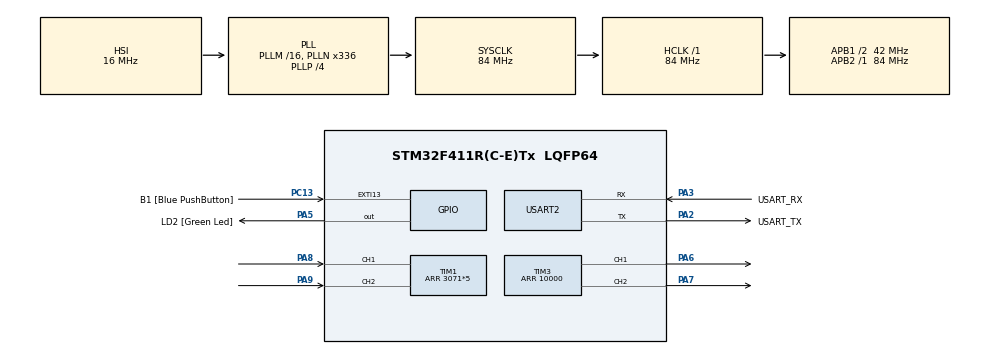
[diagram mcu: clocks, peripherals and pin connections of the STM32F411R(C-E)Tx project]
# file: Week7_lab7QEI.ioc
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Mcu.Family=STM32F4
PC15-OSC32_OUT.Mode=LSE-External-Oscillator
RCC.CortexFreq_Value=84000000
PC13-ANTI_TAMP.GPIO_Label=B1 [Blue PushButton]
PA14.GPIO_Label=TCK
PH1\ -\ OSC_OUT.Mode=HSE-External-Clock-Source
TIM1.EncoderMode=TIM_ENCODERMODE_TI12
RCC.APB1CLKDivider=RCC_HCLK_DIV2
PC14-OSC32_IN.Signal=RCC_OSC32_IN
RCC.SYSCLKSource=RCC_SYSCLKSOURCE_PLLCLK
ProjectManager.StackSize=0x400
PA13.Signal=SYS_JTMS-SWDIO
PA3.Mode=Asynchronous
PH0\ -\ OSC_IN.Mode=HSE-External-Clock-Source
SH.S_TIM1_CH1.0=TIM1_CH1,Encoder_Interface
PH0\ -\ OSC_IN.Signal=RCC_OSC_IN
ProjectManager.TargetToolchain=STM32CubeIDE
RCC.HCLKFreq_Value=84000000
RCC.APB2TimFreq_Value=84000000
TIM3.Period=10000
PA9.Signal=S_TIM1_CH2
PC15-OSC32_OUT.Signal=RCC_OSC32_OUT
RCC.AHBFreq_Value=84000000
TIM3.Channel-PWM\ Generation1\ CH1=TIM_CHANNEL_1
PA5.Signal=GPIO_Output
SH.S_TIM3_CH2.0=TIM3_CH2,PWM Generation2 CH2
RCC.HSE_VALUE=8000000
PH1\ -\ OSC_OUT.Signal=RCC_OSC_OUT
board=NUCLEO-F411RE
PC13-ANTI_TAMP.Signal=GPXTI13
RCC.VCOOutputFreq_Value=336000000
RCC.APB2Freq_Value=84000000
PC14-OSC32_IN.Mode=LSE-External-Oscillator
SH.S_TIM1_CH2.0=TIM1_CH2,Encoder_Interface
VP_TIM2_VS_ClockSourceINT.Mode=Internal
PA14.Mode=Serial_Wire
NVIC.TIM2_IRQn=true\:0\:0\:false\:false\:true\:true\:true
PA8.Signal=S_TIM1_CH1
SH.S_TIM3_CH1.0=TIM3_CH1,PWM Generation1 CH1
PA13.Mode=Serial_Wire
Mcu.Name=STM32F411R(C-E)Tx
PA2.Signal=USART2_TX
PA13.GPIO_Label=TMS
RCC.FLatency-AdvancedSettings=FLASH_LATENCY_2
RCC.48MHZClocksFreq_Value=84000000
PB3.Signal=SYS_JTDO-SWO
RCC.SYSCLKFreq_VALUE=84000000
Mcu.Package=LQFP64
TIM2.Prescaler=99
PA6.Signal=S_TIM3_CH1
PA5.GPIO_Label=LD2 [Green Led]
USART2.VirtualMode=VM_ASYNC
PC13-ANTI_TAMP.GPIO_ModeDefaultEXTI=GPIO_MODE_IT_FALLING
PA2.GPIO_Label=USART_TX
PA14.Signal=SYS_JTCK-SWCLK
ProjectManager.HeapSize=0x200
RCC.HSI_VALUE=16000000
RCC.PLLP=RCC_PLLP_DIV4
NVIC.PriorityGroup=NVIC_PRIORITYGROUP_0
TIM3.Channel-PWM\ Generation2\ CH2=TIM_CHANNEL_2
RCC.PLLN=336
RCC.APB1TimFreq_Value=84000000
PA2.Mode=Asynchronous
TIM1.Period=3071*5
RCC.APB1Freq_Value=42000000
PA3.GPIO_Label=USART_RX
PA3.Signal=USART2_RX
PA7.Signal=S_TIM3_CH2
PB3.GPIO_Label=SWO

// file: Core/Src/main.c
/* USER CODE BEGIN Header */
/**
 ******************************************************************************
 * @file           : main.c
 * @brief          : Main program body
 ******************************************************************************
 * @attention
 *
 * <h2><center>&copy; Copyright (c) 2021 STMicroelectronics.
 * All rights reserved.</center></h2>
 *
 * This software component is licensed by ST under BSD 3-Clause license,
 * the "License"; You may not use this file except in compliance with the
 * License. You may obtain a copy of the License at:
 *                        opensource.org/licenses/BSD-3-Clause
 *
 ******************************************************************************
 */
/* USER CODE END Header */
#include "main.h"

TIM_HandleTypeDef htim1;
TIM_HandleTypeDef htim2;
TIM_HandleTypeDef htim3;

UART_HandleTypeDef huart2;

/* USER CODE BEGIN PV */
uint64_t _micros = 0;
float EncoderVel = 0, setpointV=0,setpointPWM=0;
float Kp=0,Ki=0,Kd=0;
float Error=0,PreviousError=0;
float SumError=0;
uint64_t Timestamp_Encoder = 0;
/* USER CODE END PV */

void SystemClock_Config(void);
static void MX_GPIO_Init(void);
static void MX_USART2_UART_Init(void);
static void MX_TIM1_Init(void);
static void MX_TIM3_Init(void);
static void MX_TIM2_Init(void);
/* USER CODE BEGIN PFP */
uint64_t micros();
float EncoderVelocity_Update();

/* USER CODE END PFP */

int main(void)
{

  /* MCU Configuration--------------------------------------------------------*/

  /* Reset of all peripherals, Initializes the Flash interface and the Systick. */
  HAL_Init();

  /* Configure the system clock */
  SystemClock_Config();

  /* Initialize all configured peripherals */
  MX_GPIO_Init();
  MX_USART2_UART_Init();
  MX_TIM1_Init();
  MX_TIM3_Init();
  MX_TIM2_Init();
  /* USER CODE BEGIN 2 */
	HAL_TIM_Base_Start_IT(&htim2);
	HAL_TIM_Encoder_Start(&htim1, TIM_CHANNEL_ALL);
	HAL_TIM_PWM_Start(&htim3, TIM_CHANNEL_1);
	HAL_TIM_PWM_Start(&htim3, TIM_CHANNEL_2);
  /* USER CODE END 2 */

  /* Infinite loop */
	while (1)
	{

    /* USER CODE BEGIN 3 */

		//RAW Read //sampling time 1kHz 1ms
//		if (micros() - Timestamp_Encoder >= 100000) //us
//		{
//			Timestamp_Encoder = micros();
//			EncoderVel = EncoderVelocity_Update();
//		}
//		__HAL_TIM_SET_COMPARE(&htim3, TIM_CHANNEL_1, 0);
//		__HAL_TIM_SET_COMPARE(&htim3, TIM_CHANNEL_2, setpointPWM);
		if (micros() - Timestamp_Encoder >= 1000){
			Timestamp_Encoder = micros();
			EncoderVel = (EncoderVel * 99 + EncoderVelocity_Update()) / 100.0;
			PIDControl();
			if(setpointPWM>0)
					{
						__HAL_TIM_SET_COMPARE(&htim3, TIM_CHANNEL_1, 0);
						__HAL_TIM_SET_COMPARE(&htim3, TIM_CHANNEL_2, setpointPWM);
						//EncoderVel = (EncoderVel * 99 + EncoderVelocity_Update()) / 100.0;
					}

			else if(setpointPWM<0)
					{
						__HAL_TIM_SET_COMPARE(&htim3, TIM_CHANNEL_1, (-1)*setpointPWM);
						__HAL_TIM_SET_COMPARE(&htim3, TIM_CHANNEL_2, 0);
					}
			else if (setpointPWM==0)
				{
				__HAL_TIM_SET_COMPARE(&htim3, TIM_CHANNEL_1, 0);
				__HAL_TIM_SET_COMPARE(&htim3, TIM_CHANNEL_2, 0);
				}
		}
//		if(setpointV>=0)
//		{
//			__HAL_TIM_SET_COMPARE(&htim3, TIM_CHANNEL_1, 0);
//			__HAL_TIM_SET_COMPARE(&htim3, TIM_CHANNEL_2, setpointPWM);
//			if (micros() - Timestamp_Encoder >= 1000)
//					{
//						PIDControl();
//						Timestamp_Encoder = micros();
//						EncoderVel = (EncoderVel * 99 + EncoderVelocity_Update()) / 100.0;
//					}
//		}
//		else if(setpointV<0)
//		{
//			__HAL_TIM_SET_COMPARE(&htim3, TIM_CHANNEL_1, (-1)*setpointPWM);
//			__HAL_TIM_SET_COMPARE(&htim3, TIM_CHANNEL_2, 0);
//			if (micros() - Timestamp_Encoder >= 1000)
//					{
//						PIDControl();
//						Timestamp_Encoder = micros();
//						EncoderVel = (EncoderVel * 99 + EncoderVelocity_Update()) / 100.0;
//					}
//		}

		//Add LPF?
//		if (micros() - Timestamp_Encoder >= 100)
//		{
//			PIDControl();
//			Timestamp_Encoder = micros();
//			EncoderVel = (EncoderVel * 99 + EncoderVelocity_Update()) / 100.0;
//		}

	}
  /* USER CODE END 3 */
}

void SystemClock_Config(void)
{
  RCC_OscInitTypeDef RCC_OscInitStruct = {0};
  RCC_ClkInitTypeDef RCC_ClkInitStruct = {0};

  /** Configure the main internal regulator output voltage
  */
  __HAL_RCC_PWR_CLK_ENABLE();
  __HAL_PWR_VOLTAGESCALING_CONFIG(PWR_REGULATOR_VOLTAGE_SCALE1);
  /** Initializes the RCC Oscillators according to the specified parameters
  * in the RCC_OscInitTypeDef structure.
  */
  RCC_OscInitStruct.OscillatorType = RCC_OSCILLATORTYPE_HSI;
  RCC_OscInitStruct.HSIState = RCC_HSI_ON;
  RCC_OscInitStruct.HSICalibrationValue = RCC_HSICALIBRATION_DEFAULT;
  RCC_OscInitStruct.PLL.PLLState = RCC_PLL_ON;
  RCC_OscInitStruct.PLL.PLLSource = RCC_PLLSOURCE_HSI;
  RCC_OscInitStruct.PLL.PLLM = 16;
  RCC_OscInitStruct.PLL.PLLN = 336;
  RCC_OscInitStruct.PLL.PLLP = RCC_PLLP_DIV4;
  RCC_OscInitStruct.PLL.PLLQ = 4;
  if (HAL_RCC_OscConfig(&RCC_OscInitStruct) != HAL_OK)
  {
    Error_Handler();
  }
  /** Initializes the CPU, AHB and APB buses clocks
  */
  RCC_ClkInitStruct.ClockType = RCC_CLOCKTYPE_HCLK|RCC_CLOCKTYPE_SYSCLK
                              |RCC_CLOCKTYPE_PCLK1|RCC_CLOCKTYPE_PCLK2;
  RCC_ClkInitStruct.SYSCLKSource = RCC_SYSCLKSOURCE_PLLCLK;
  RCC_ClkInitStruct.AHBCLKDivider = RCC_SYSCLK_DIV1;
  RCC_ClkInitStruct.APB1CLKDivider = RCC_HCLK_DIV2;
  RCC_ClkInitStruct.APB2CLKDivider = RCC_HCLK_DIV1;

  if (HAL_RCC_ClockConfig(&RCC_ClkInitStruct, FLASH_LATENCY_2) != HAL_OK)
  {
    Error_Handler();
  }
}

static void MX_TIM1_Init(void)
{

  TIM_Encoder_InitTypeDef sConfig = {0};
  TIM_MasterConfigTypeDef sMasterConfig = {0};

  htim1.Instance = TIM1;
  htim1.Init.Prescaler = 0;
  htim1.Init.CounterMode = TIM_COUNTERMODE_UP;
  htim1.Init.Period = 3071*5;
  htim1.Init.ClockDivision = TIM_CLOCKDIVISION_DIV1;
  htim1.Init.RepetitionCounter = 0;
  htim1.Init.AutoReloadPreload = TIM_AUTORELOAD_PRELOAD_DISABLE;
  sConfig.EncoderMode = TIM_ENCODERMODE_TI12;
  sConfig.IC1Polarity = TIM_ICPOLARITY_RISING;
  sConfig.IC1Selection = TIM_ICSELECTION_DIRECTTI;
  sConfig.IC1Prescaler = TIM_ICPSC_DIV1;
  sConfig.IC1Filter = 0;
  sConfig.IC2Polarity = TIM_ICPOLARITY_RISING;
  sConfig.IC2Selection = TIM_ICSELECTION_DIRECTTI;
  sConfig.IC2Prescaler = TIM_ICPSC_DIV1;
  sConfig.IC2Filter = 0;
  if (HAL_TIM_Encoder_Init(&htim1, &sConfig) != HAL_OK)
  {
    Error_Handler();
  }
  sMasterConfig.MasterOutputTrigger = TIM_TRGO_RESET;
  sMasterConfig.MasterSlaveMode = TIM_MASTERSLAVEMODE_DISABLE;
  if (HAL_TIMEx_MasterConfigSynchronization(&htim1, &sMasterConfig) != HAL_OK)
  {
    Error_Handler();
  }

}

static void MX_TIM2_Init(void)
{

  TIM_ClockConfigTypeDef sClockSourceConfig = {0};
  TIM_MasterConfigTypeDef sMasterConfig = {0};

  htim2.Instance = TIM2;
  htim2.Init.Prescaler = 99;
  htim2.Init.CounterMode = TIM_COUNTERMODE_UP;
  htim2.Init.Period = 4294967295;
  htim2.Init.ClockDivision = TIM_CLOCKDIVISION_DIV1;
  htim2.Init.AutoReloadPreload = TIM_AUTORELOAD_PRELOAD_DISABLE;
  if (HAL_TIM_Base_Init(&htim2) != HAL_OK)
  {
    Error_Handler();
  }
  sClockSourceConfig.ClockSource = TIM_CLOCKSOURCE_INTERNAL;
  if (HAL_TIM_ConfigClockSource(&htim2, &sClockSourceConfig) != HAL_OK)
  {
    Error_Handler();
  }
  sMasterConfig.MasterOutputTrigger = TIM_TRGO_RESET;
  sMasterConfig.MasterSlaveMode = TIM_MASTERSLAVEMODE_DISABLE;
  if (HAL_TIMEx_MasterConfigSynchronization(&htim2, &sMasterConfig) != HAL_OK)
  {
    Error_Handler();
  }

}

static void MX_TIM3_Init(void)
{

  TIM_MasterConfigTypeDef sMasterConfig = {0};
  TIM_OC_InitTypeDef sConfigOC = {0};

  htim3.Instance = TIM3;
  htim3.Init.Prescaler = 0;
  htim3.Init.CounterMode = TIM_COUNTERMODE_UP;
  htim3.Init.Period = 10000;
  htim3.Init.ClockDivision = TIM_CLOCKDIVISION_DIV1;
  htim3.Init.AutoReloadPreload = TIM_AUTORELOAD_PRELOAD_DISABLE;
  if (HAL_TIM_PWM_Init(&htim3) != HAL_OK)
  {
    Error_Handler();
  }
  sMasterConfig.MasterOutputTrigger = TIM_TRGO_RESET;
  sMasterConfig.MasterSlaveMode = TIM_MASTERSLAVEMODE_DISABLE;
  if (HAL_TIMEx_MasterConfigSynchronization(&htim3, &sMasterConfig) != HAL_OK)
  {
    Error_Handler();
  }
  sConfigOC.OCMode = TIM_OCMODE_PWM1;
  sConfigOC.Pulse = 0;
  sConfigOC.OCPolarity = TIM_OCPOLARITY_HIGH;
  sConfigOC.OCFastMode = TIM_OCFAST_DISABLE;
  if (HAL_TIM_PWM_ConfigChannel(&htim3, &sConfigOC, TIM_CHANNEL_1) != HAL_OK)
  {
    Error_Handler();
  }
  if (HAL_TIM_PWM_ConfigChannel(&htim3, &sConfigOC, TIM_CHANNEL_2) != HAL_OK)
  {
    Error_Handler();
  }
  HAL_TIM_MspPostInit(&htim3);

}

static void MX_USART2_UART_Init(void)
{

  huart2.Instance = USART2;
  huart2.Init.BaudRate = 115200;
  huart2.Init.WordLength = UART_WORDLENGTH_8B;
  huart2.Init.StopBits = UART_STOPBITS_1;
  huart2.Init.Parity = UART_PARITY_NONE;
  huart2.Init.Mode = UART_MODE_TX_RX;
  huart2.Init.HwFlowCtl = UART_HWCONTROL_NONE;
  huart2.Init.OverSampling = UART_OVERSAMPLING_16;
  if (HAL_UART_Init(&huart2) != HAL_OK)
  {
    Error_Handler();
  }

}

static void MX_GPIO_Init(void)
{
  GPIO_InitTypeDef GPIO_InitStruct = {0};

  /* GPIO Ports Clock Enable */
  __HAL_RCC_GPIOC_CLK_ENABLE();
  __HAL_RCC_GPIOH_CLK_ENABLE();
  __HAL_RCC_GPIOA_CLK_ENABLE();
  __HAL_RCC_GPIOB_CLK_ENABLE();

  /*Configure GPIO pin Output Level */
  HAL_GPIO_WritePin(LD2_GPIO_Port, LD2_Pin, GPIO_PIN_RESET);

  /*Configure GPIO pin : B1_Pin */
  GPIO_InitStruct.Pin = B1_Pin;
  GPIO_InitStruct.Mode = GPIO_MODE_IT_FALLING;
  GPIO_InitStruct.Pull = GPIO_NOPULL;
  HAL_GPIO_Init(B1_GPIO_Port, &GPIO_InitStruct);

  /*Configure GPIO pin : LD2_Pin */
  GPIO_InitStruct.Pin = LD2_Pin;
  GPIO_InitStruct.Mode = GPIO_MODE_OUTPUT_PP;
  GPIO_InitStruct.Pull = GPIO_NOPULL;
  GPIO_InitStruct.Speed = GPIO_SPEED_FREQ_LOW;
  HAL_GPIO_Init(LD2_GPIO_Port, &GPIO_InitStruct);

}

/* USER CODE BEGIN 4 */
#define  HTIM_ENCODER htim1
#define  MAX_SUBPOSITION_OVERFLOW 1536
#define  MAX_ENCODER_PERIOD 3072

float EncoderVelocity_Update() //angular V
{
	//Save Last state เ�?็บค่ารอบที่�?ล้ว
	static uint32_t EncoderLastPosition = 0;
	static uint64_t EncoderLastTimestamp = 0;

	//read data เ�?็บค่าปัจจุบัน
	uint32_t EncoderNowPosition = HTIM_ENCODER.Instance->CNT;
	uint64_t EncoderNowTimestamp = micros();
 //เ�?็บค่าที่ปลี่ยน�?ปลง
	int32_t EncoderPositionDiff;
	uint64_t EncoderTimeDiff;
//ค่า�?ารเปลี่ยน�?ปลงง
	EncoderTimeDiff = EncoderNowTimestamp - EncoderLastTimestamp;//dt
	EncoderPositionDiff = EncoderNowPosition - EncoderLastPosition;//dp

	//compensate overflow and underflow
	if (EncoderPositionDiff >= MAX_SUBPOSITION_OVERFLOW)
	{
		EncoderPositionDiff -= MAX_ENCODER_PERIOD;
	}
	else if (-EncoderPositionDiff >= MAX_SUBPOSITION_OVERFLOW)//overflow
	{
		EncoderPositionDiff += MAX_ENCODER_PERIOD;
	}

	//Update Position and time
	EncoderLastPosition = EncoderNowPosition;
	EncoderLastTimestamp = EncoderNowTimestamp;

	//Calculate velocity
	//EncoderTimeDiff is in uS
	//ได้ความเร็วมอเตอร์ �?บบ p/r
	return ((EncoderPositionDiff * 1000000) / (float) EncoderTimeDiff)*60/3072;

}
void PIDControl(){
 Error=setpointV-EncoderVel;
 SumError=SumError+Error;
 setpointPWM=(Kp*Error)+(Ki*SumError)+(Kd*(Error-PreviousError));
 PreviousError=Error;
}

void HAL_TIM_PeriodElapsedCallback(TIM_HandleTypeDef *htim)
{
	if (htim == &htim2)
	{
		_micros += 4294967295;
	}
}
uint64_t micros()
{
	return _micros + htim2.Instance->CNT;
}
/* USER CODE END 4 */

void Error_Handler(void)
{
	__disable_irq();
	while (1)
	{
	}
}

/************************ (C) COPYRIGHT STMicroelectronics *****END OF FILE****/
